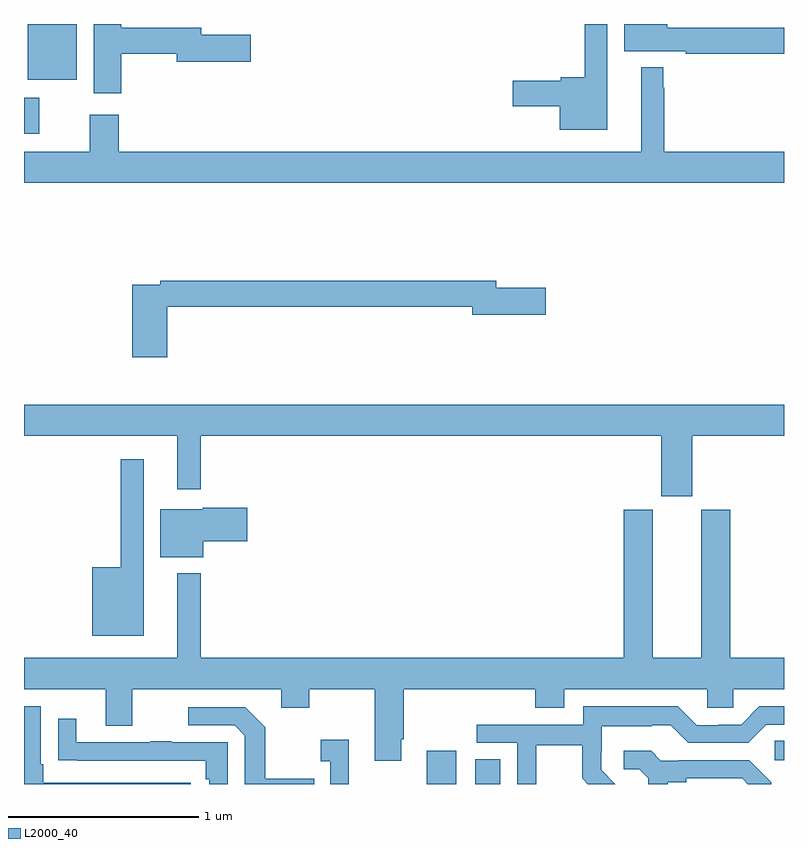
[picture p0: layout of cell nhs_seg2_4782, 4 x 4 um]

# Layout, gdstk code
import gdstk
lib = gdstk.Library(unit=1e-6, precision=1e-09)
def R(c, l, rs):  # rectangles x0, y0, x1, y1
    for r in rs: c.add(gdstk.rectangle(r[:2], r[2:], *l))
def P(c, l, *ps):  # polygons
    for p in ps: c.add(gdstk.Polygon(p, *l))
L2000_40 = (2000, 40)

nhs_seg2_4782 = lib.new_cell('nhs_seg2_4782')
R(nhs_seg2_4782, L2000_40, [(373.121,649.8,373.276,649.975), (373.376,649.8,373.507,649.931), (374.952,649.926,375,650.027), (371,653.222,371.08,653.412), (371.021,653.507,371.278,653.8)])
P(nhs_seg2_4782, L2000_40, [(371.513,653.644),(371.804,653.644),(371.804,653.602),(372.193,653.602),(372.193,653.744),(371.932,653.744),(371.932,653.78),(371.513,653.78),(371.513,653.8),(371.366,653.8),(371.366,653.436),(371.513,653.436)],
  [(375,653.78),(374.386,653.78),(374.386,653.8),(374.159,653.8),(374.159,653.657),(374.482,653.657),(374.482,653.644),(375,653.644)],
  [(374.071,653.8),(373.95,653.8),(373.95,653.519),(373.824,653.519),(373.824,653.501),(373.572,653.501),(373.572,653.366),(373.82,653.366),(373.82,653.243),(374.071,653.243)],
  [(375,653.128),(374.371,653.128),(374.371,653.465),(374.364,653.465),(374.364,653.572),(374.249,653.572),(374.249,653.128),(371.498,653.128),(371.498,653.323),(371.345,653.323),(371.345,653.128),(371,653.128),(371,652.964),(375,652.964)],
  [(371.753,652.312),(373.358,652.312),(373.358,652.27),(373.747,652.27),(373.747,652.412),(373.486,652.412),(373.486,652.448),(371.716,652.448),(371.716,652.428),(371.57,652.428),(371.57,652.047),(371.753,652.047)],
  [(374.518,651.632),(375,651.632),(375,651.796),(371,651.796),(371,651.632),(371.807,651.632),(371.807,651.351),(371.929,651.351),(371.929,651.632),(374.354,651.632),(374.354,651.315),(374.518,651.315)],
  [(371.629,651.508),(371.508,651.508),(371.508,650.941),(371.36,650.941),(371.36,650.579),(371.629,650.579)],
  [(371.944,651.077),(372.175,651.077),(372.175,651.255),(371.94,651.255),(371.94,651.247),(371.717,651.247),(371.717,650.993),(371.944,650.993)],
  [(372.985,650.035),(372.998,650.035),(372.998,650.3),(373.691,650.3),(373.691,650.201),(373.843,650.201),(373.843,650.3),(374.595,650.3),(374.595,650.202),(374.733,650.202),(374.733,650.3),(375,650.3),(375,650.464),(374.717,650.464),(374.717,651.243),(374.564,651.243),(374.564,650.464),(374.308,650.464),(374.308,651.243),(374.156,651.243),(374.156,650.464),(371.929,650.464),(371.929,650.908),(371.807,650.908),(371.807,650.464),(371,650.464),(371,650.3),(371.429,650.3),(371.429,650.106),(371.569,650.106),(371.569,650.3),(372.353,650.3),(372.353,650.201),(372.501,650.201),(372.501,650.3),(372.845,650.3),(372.845,649.923),(372.985,649.923)],
  [(373.695,650.004),(373.939,650.004),(373.939,649.829),(373.968,649.8),(374.112,649.8),(374.038,649.874),(374.038,649.971),(374.04,649.971),(374.04,650.105),(374.303,650.105),(374.303,650.109),(374.403,650.109),(374.496,650.016),(374.811,650.016),(374.907,650.112),(375,650.112),(375,650.208),(374.871,650.208),(374.775,650.112),(374.657,650.112),(374.657,650.109),(374.541,650.109),(374.441,650.209),(373.944,650.209),(373.944,650.112),(373.383,650.112),(373.383,650.016),(373.596,650.016),(373.596,649.8),(373.695,649.8)],
  [(371.878,649.806),(371.101,649.806),(371.101,649.903),(371.088,649.903),(371.088,650.208),(371,650.208),(371,649.8),(371.878,649.8)],
  [(372.527,649.827),(372.271,649.827),(372.271,650.099),(372.165,650.205),(371.865,650.205),(371.865,650.109),(372.108,650.109),(372.162,650.055),(372.162,649.8),(372.527,649.8)],
  [(372.072,650.019),(371.777,650.019),(371.777,650.024),(371.665,650.024),(371.665,650.019),(371.275,650.019),(371.275,650.143),(371.179,650.143),(371.179,649.924),(371.281,649.924),(371.281,649.923),(371.956,649.923),(371.956,649.826),(371.976,649.826),(371.976,649.8),(372.072,649.8)],
  [(372.71,650.032),(372.561,650.032),(372.561,649.919),(372.612,649.919),(372.612,649.8),(372.71,649.8)],
  [(374.389,649.808),(374.485,649.808),(374.485,649.83),(374.78,649.83),(374.81,649.8),(374.934,649.8),(374.934,649.81),(374.818,649.926),(374.446,649.926),(374.446,649.923),(374.352,649.923),(374.3,649.975),(374.157,649.975),(374.157,649.878),(374.238,649.878),(374.285,649.831),(374.285,649.8),(374.389,649.8)])

lib.write_gds('nhs_seg2_4782.gds')
